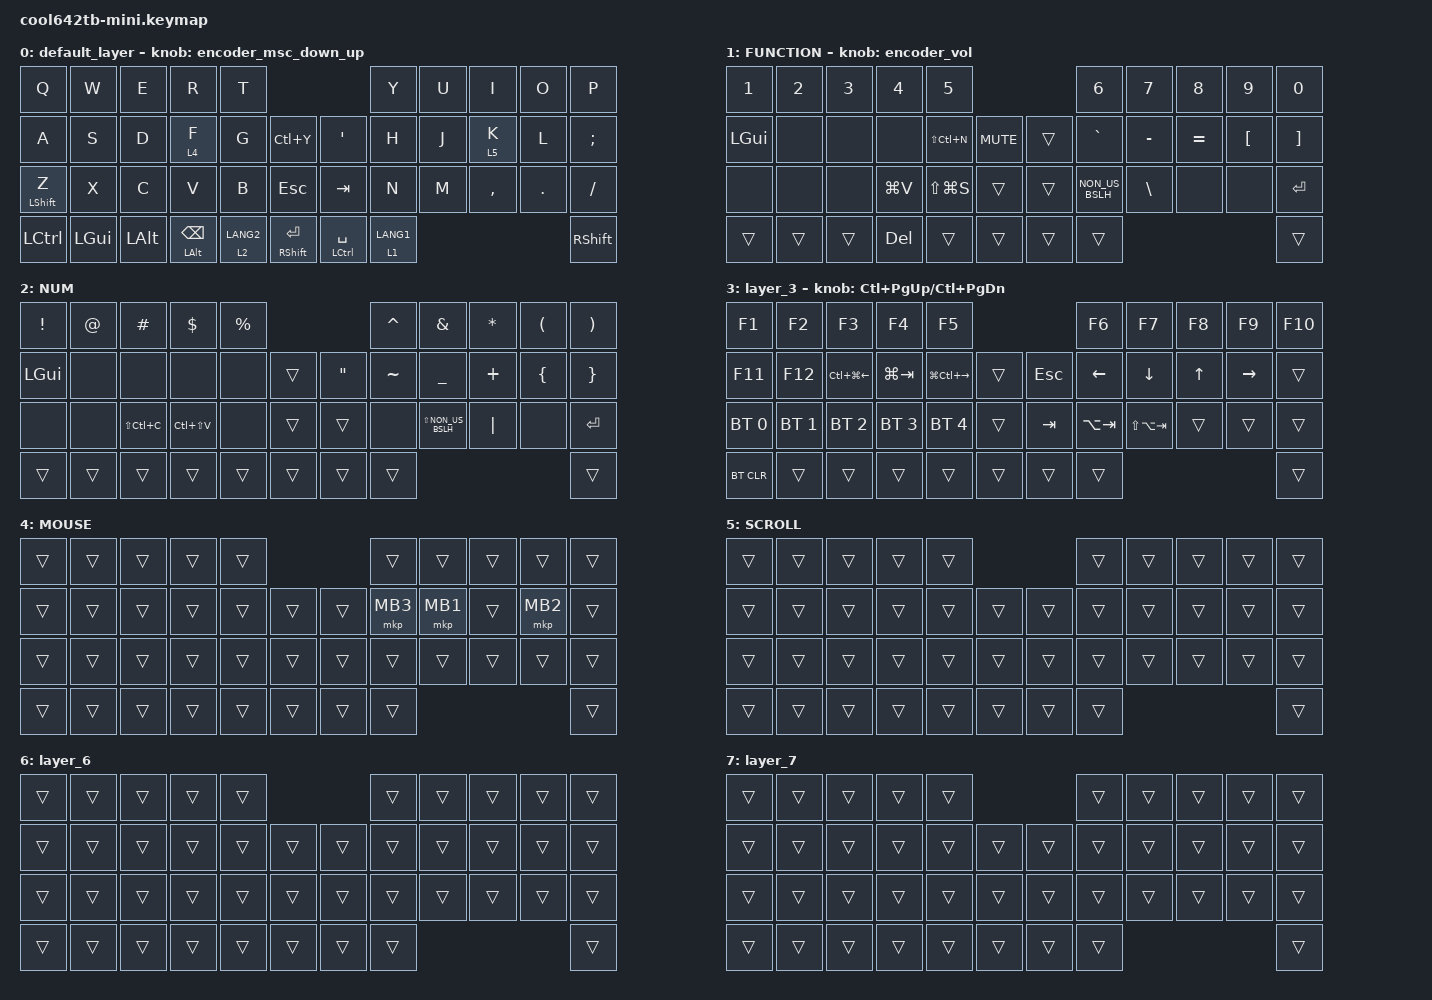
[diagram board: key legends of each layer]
#include <behaviors.dtsi>
#include <dt-bindings/zmk/bt.h>
#include <dt-bindings/zmk/keys.h>
#include <dt-bindings/zmk/pointing.h>
#include <behaviors/runtime-sensor-rotate.dtsi>
#include <behaviors/runtime-input-processor.dtsi>

#define MOUSE 4
#define SCROLL 5
#define NUM 6
#define ZMK_POINTING_DEFAULT_SCRL_VAL 80

&mt {
    flavor = "balanced";
    quick-tap-ms = <0>;
};

/ {
    runtime_combo_defaults {
        compatible = "cormoran,runtime-combo-defaults";

        combo_lang2 {
            bindings = <&kp LANG2>;
            key-positions = <12 13>;
        };

        combo_lang1 {
            bindings = <&kp LANG1>;
            key-positions = <18 19>;
        };

        combo_unlockpy {
            bindings = <&studio_unlock>;
            key-positions = <0 1 8 9>;
        };
    };

    behaviors {
        // encoder_msc_down_up: encoder_msc_down_up {
        //     compatible = "zmk,behavior-sensor-rotate";
        //     label = "ENCODER_MSC_DOWN_UP";
        //     #sensor-binding-cells = <0>;
        //     bindings = <&msc SCRL_UP>, <&msc SCRL_DOWN>;

        //     tap-ms = <20>;
        // };
        encoder_vol: encoder_vol {
            compatible = "zmk,behavior-runtime-sensor-rotate";
            #sensor-binding-cells = <0>;
            tap-ms = <20>;
            cw-binding = <&kp C_VOL_DN>;
            ccw-binding = <&kp C_VOL_UP>;
        };

        encoder_msc_down_up: encoder_msc_down_up {
            compatible = "zmk,behavior-runtime-sensor-rotate";
            #sensor-binding-cells = <0>;
            tap-ms = <20>;
            cw-binding = <&msc SCRL_UP>;
            ccw-binding = <&msc SCRL_DOWN>;
        };

        encoder_msc_left_right: encoder_msc_left_right {
            compatible = "zmk,behavior-runtime-sensor-rotate";
            #sensor-binding-cells = <0>;
            tap-ms = <20>;
            cw-binding = <&msc SCRL_LEFT>;
            ccw-binding = <&msc SCRL_RIGHT>;
        };
    };

    keymap {
        compatible = "zmk,keymap";

        default_layer {
            bindings = <
&kp Q             &kp W         &kp E         &kp R                   &kp T                                              &kp Y        &kp U  &kp I      &kp O    &kp P
&kp A             &kp S         &kp D         &lt 4 F                 &kp G        &kp LC(Y)            &kp SQT          &kp H        &kp J  &lt 5 K    &kp L    &kp SEMICOLON
&mt LSHIFT Z      &kp X         &kp C         &kp V                   &kp B        &kp ESC              &kp TAB          &kp N        &kp M  &kp COMMA  &kp DOT  &kp SLASH
&kp LEFT_CONTROL  &kp LEFT_GUI  &kp LEFT_ALT  &mt LEFT_ALT BACKSPACE  &lt 2 LANG2  &mt RSHFT ENTER      &mt LCTRL SPACE  &lt 1 LANG1                             &kp RSHIFT
            >;

            sensor-bindings = <&encoder_msc_down_up>;
        };

        FUNCTION {
            bindings = <
&kp N1    &kp N2  &kp N3  &kp N4     &kp N5                                 &kp N6           &kp N7     &kp N8     &kp N9    &kp N0
&kp LGUI  &none   &none   &none      &kp LS(LC(N))  &kp C_MUTE      &trans  &kp GRAVE        &kp MINUS  &kp EQUAL  &kp LBKT  &kp RBKT
&none     &none   &none   &kp LG(V)  &kp LS(LG(S))  &trans          &trans  &kp NON_US_BSLH  &kp BSLH   &none      &none     &kp ENTER
&trans    &trans  &trans  &kp DEL    &trans         &trans          &trans  &trans                                           &trans
            >;

            sensor-bindings = <&encoder_vol>;
        };

        NUM {
            bindings = <
&kp EXCL  &kp AT  &kp HASH       &kp DLLR       &kp PRCNT                       &kp CARET  &kp AMPERSAND        &kp ASTRK  &kp LPAR  &kp RPAR
&kp LGUI  &none   &none          &none          &none      &trans      &kp DQT  &kp TILDE  &kp UNDER            &kp PLUS   &kp LBRC  &kp RBRC
&none     &none   &kp LS(LC(C))  &kp LC(LS(V))  &none      &trans      &trans   &none      &kp LS(NON_US_BSLH)  &kp PIPE   &none     &kp ENTER
&trans    &trans  &trans         &trans         &trans     &trans      &trans   &trans                                               &trans
            >;
        };

        layer_3 {
            bindings = <
&kp F1        &kp F2        &kp F3            &kp F4        &kp F5                                  &kp F6       &kp F7           &kp F8  &kp F9     &kp F10
&kp F11       &kp F12       &kp LC(LG(LEFT))  &kp LG(TAB)   &kp LG(LC(RIGHT))  &trans      &kp ESC  &kp LEFT     &kp DOWN         &kp UP  &kp RIGHT  &trans
&bt BT_SEL 0  &bt BT_SEL 1  &bt BT_SEL 2      &bt BT_SEL 3  &bt BT_SEL 4       &trans      &kp TAB  &kp LA(TAB)  &kp LS(LA(TAB))  &trans  &trans     &trans
&bt BT_CLR    &trans        &trans            &trans        &trans             &trans      &trans   &trans                                           &trans
            >;

            sensor-bindings = <&inc_dec_kp LC(PAGE_UP) LC(PAGE_DOWN)>;
        };

        MOUSE {
            bindings = <
&trans  &trans  &trans  &trans  &trans                      &trans    &trans    &trans    &trans    &trans
&trans  &trans  &trans  &trans  &trans  &trans      &trans  &mkp MB3  &mkp MB1  &trans    &mkp MB2  &trans
&trans  &trans  &trans  &trans  &trans  &trans      &trans  &trans    &trans    &trans    &trans    &trans
&trans  &trans  &trans  &trans  &trans  &trans      &trans  &trans                                  &trans
            >;
        };

        SCROLL {
            bindings = <
&trans  &trans  &trans  &trans  &trans                      &trans  &trans  &trans  &trans  &trans
&trans  &trans  &trans  &trans  &trans  &trans      &trans  &trans  &trans  &trans  &trans  &trans
&trans  &trans  &trans  &trans  &trans  &trans      &trans  &trans  &trans  &trans  &trans  &trans
&trans  &trans  &trans  &trans  &trans  &trans      &trans  &trans                          &trans
            >;
        };

        layer_6 {
            bindings = <
&trans  &trans  &trans  &trans  &trans                      &trans  &trans  &trans  &trans  &trans
&trans  &trans  &trans  &trans  &trans  &trans      &trans  &trans  &trans  &trans  &trans  &trans
&trans  &trans  &trans  &trans  &trans  &trans      &trans  &trans  &trans  &trans  &trans  &trans
&trans  &trans  &trans  &trans  &trans  &trans      &trans  &trans                          &trans
            >;
        };

        layer_7 {
            bindings = <
&trans  &trans  &trans  &trans  &trans                      &trans  &trans  &trans  &trans  &trans
&trans  &trans  &trans  &trans  &trans  &trans      &trans  &trans  &trans  &trans  &trans  &trans
&trans  &trans  &trans  &trans  &trans  &trans      &trans  &trans  &trans  &trans  &trans  &trans
&trans  &trans  &trans  &trans  &trans  &trans      &trans  &trans                          &trans
            >;
        };
    };

    conditional_layers {
        compatible = "zmk,conditional-layers";

        layer3 {
            if-layers = <1 2>;
            then-layer = <3>;
        };
    };
};
